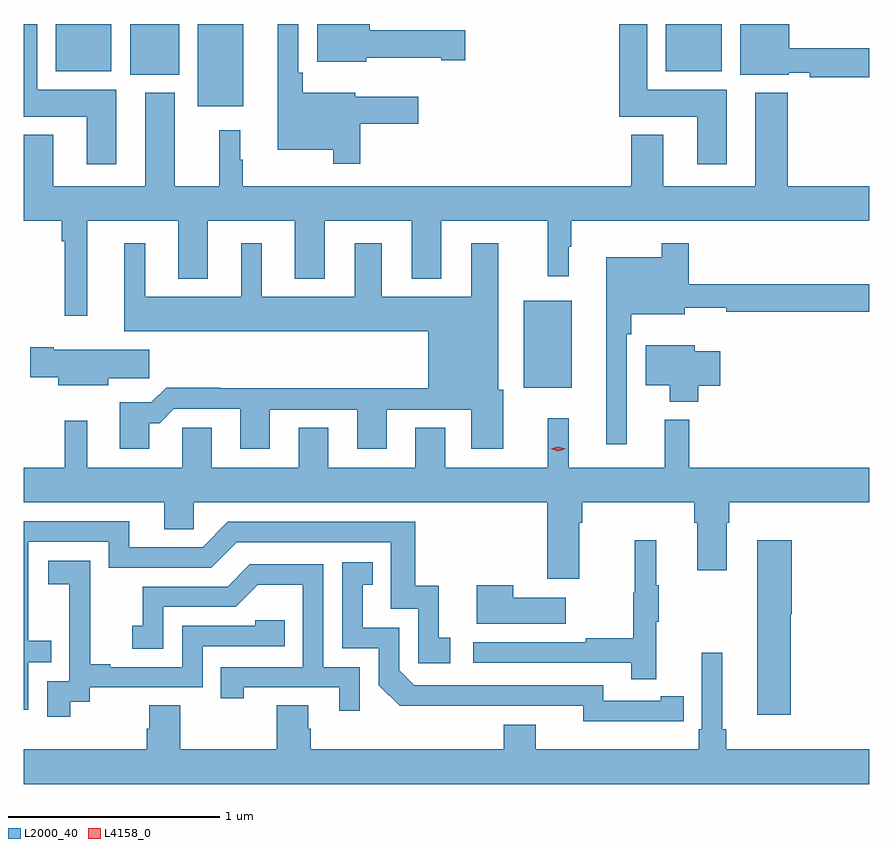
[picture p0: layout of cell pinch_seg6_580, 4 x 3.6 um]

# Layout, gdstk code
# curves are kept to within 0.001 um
import gdstk
lib = gdstk.Library(unit=1e-6, precision=1e-09)
def R(c, l, rs):  # rectangles x0, y0, x1, y1
    for r in rs: c.add(gdstk.rectangle(r[:2], r[2:], *l))
def P(c, l, *ps):  # polygons
    for p in ps: c.add(gdstk.Polygon(p, *l))
L2000_40 = (2000, 40)
L4158_0 = (4158, 0)

pinch_seg6_580 = lib.new_cell('pinch_seg6_580')
R(pinch_seg6_580, L2000_40, [(541.634,961.199,541.861,961.609), (540.092,962.531,540.307,962.919), (539.771,962.678,540.004,962.919), (539.42,962.696,539.683,962.919), (542.306,962.696,542.569,962.919)])
P(pinch_seg6_580, L2000_40, [(543.268,962.804),(542.89,962.804),(542.89,962.919),(542.657,962.919),(542.657,962.678),(542.886,962.678),(542.886,962.688),(542.986,962.688),(542.986,962.668),(543.268,962.668)],
  [(539.707,962.608),(539.332,962.608),(539.332,962.919),(539.268,962.919),(539.268,962.48),(539.567,962.48),(539.567,962.256),(539.707,962.256)],
  [(540.888,962.759),(541.244,962.759),(541.244,962.747),(541.357,962.747),(541.357,962.889),(540.905,962.889),(540.905,962.919),(540.656,962.919),(540.656,962.741),(540.888,962.741)],
  [(540.86,962.446),(541.135,962.446),(541.135,962.575),(540.837,962.575),(540.837,962.593),(540.587,962.593),(540.587,962.689),(540.567,962.689),(540.567,962.919),(540.47,962.919),(540.47,962.324),(540.732,962.324),(540.732,962.259),(540.86,962.259)],
  [(542.593,962.608),(542.218,962.608),(542.218,962.919),(542.084,962.919),(542.084,962.48),(542.453,962.48),(542.453,962.256),(542.593,962.256)],
  [(540.304,962.276),(540.292,962.276),(540.292,962.416),(540.194,962.416),(540.194,962.152),(539.983,962.152),(539.983,962.593),(539.843,962.593),(539.843,962.152),(539.407,962.152),(539.407,962.395),(539.268,962.395),(539.268,961.988),(539.448,961.988),(539.448,961.892),(539.463,961.892),(539.463,961.539),(539.569,961.539),(539.569,961.988),(539.999,961.988),(539.999,961.715),(540.139,961.715),(540.139,961.988),(540.551,961.988),(540.551,961.715),(540.691,961.715),(540.691,961.988),(541.103,961.988),(541.103,961.715),(541.243,961.715),(541.243,961.988),(541.747,961.988),(541.747,961.725),(541.846,961.725),(541.846,961.865),(541.858,961.865),(541.858,961.988),(543.268,961.988),(543.268,962.152),(542.882,962.152),(542.882,962.593),(542.729,962.593),(542.729,962.152),(542.293,962.152),(542.293,962.395),(542.141,962.395),(542.141,962.152),(540.304,962.152)],
  [(542.121,961.451),(542.141,961.451),(542.141,961.547),(542.395,961.547),(542.395,961.577),(542.591,961.577),(542.591,961.558),(543.268,961.558),(543.268,961.687),(542.414,961.687),(542.414,961.882),(542.286,961.882),(542.286,961.816),(542.024,961.816),(542.024,960.93),(542.121,960.93)],
  [(539.863,961.031),(539.912,961.031),(539.979,961.098),(540.293,961.098),(540.293,960.909),(540.433,960.909),(540.433,961.095),(540.845,961.095),(540.845,960.909),(540.985,960.909),(540.985,961.095),(541.385,961.095),(541.385,960.909),(541.537,960.909),(541.537,961.188),(541.513,961.188),(541.513,961.882),(541.385,961.882),(541.385,961.63),(540.961,961.63),(540.961,961.882),(540.833,961.882),(540.833,961.63),(540.394,961.63),(540.394,961.882),(540.296,961.882),(540.296,961.63),(539.842,961.63),(539.842,961.882),(539.744,961.882),(539.744,961.466),(541.181,961.466),(541.181,961.196),(540.197,961.196),(540.197,961.199),(539.942,961.199),(539.872,961.129),(539.723,961.129),(539.723,960.909),(539.863,960.909)],
  [(542.459,961.207),(542.563,961.207),(542.563,961.372),(542.442,961.372),(542.442,961.399),(542.21,961.399),(542.21,961.211),(542.324,961.211),(542.324,961.133),(542.459,961.133)],
  [(539.668,961.243),(539.863,961.243),(539.863,961.378),(539.41,961.378),(539.41,961.391),(539.298,961.391),(539.298,961.249),(539.432,961.249),(539.432,961.211),(539.668,961.211)],
  [(541.897,960.56),(541.91,960.56),(541.91,960.656),(542.441,960.656),(542.441,960.56),(542.453,960.56),(542.453,960.336),(542.593,960.336),(542.593,960.56),(542.606,960.56),(542.606,960.656),(543.268,960.656),(543.268,960.82),(542.417,960.82),(542.417,961.048),(542.3,961.048),(542.3,960.82),(541.847,960.82),(541.847,961.054),(541.748,961.054),(541.748,960.82),(541.261,960.82),(541.261,961.01),(541.121,961.01),(541.121,960.82),(540.709,960.82),(540.709,961.01),(540.569,961.01),(540.569,960.82),(540.157,960.82),(540.157,961.01),(540.018,961.01),(540.018,960.82),(539.569,960.82),(539.569,961.042),(539.463,961.042),(539.463,960.82),(539.268,960.82),(539.268,960.656),(539.933,960.656),(539.933,960.529),(540.072,960.529),(540.072,960.656),(541.745,960.656),(541.745,960.294),(541.897,960.294)],
  [(539.289,959.901),(539.399,959.901),(539.399,960.002),(539.289,960.002),(539.289,960.471),(539.67,960.471),(539.67,960.348),(540.156,960.348),(540.276,960.468),(541.005,960.468),(541.005,960.153),(541.134,960.153),(541.134,959.895),(541.285,959.895),(541.285,960.015),(541.232,960.015),(541.232,960.262),(541.121,960.262),(541.121,960.564),(540.234,960.564),(540.114,960.444),(539.767,960.444),(539.767,960.567),(539.268,960.567),(539.268,959.676),(539.289,959.676)],
  [(542.261,960.091),(542.272,960.091),(542.272,960.265),(542.261,960.265),(542.261,960.478),(542.158,960.478),(542.158,960.228),(542.151,960.228),(542.151,960.014),(541.927,960.014),(541.927,959.994),(541.395,959.994),(541.395,959.898),(542.143,959.898),(542.143,959.82),(542.261,959.82)],
  [(542.897,960.126),(542.902,960.126),(542.902,960.478),(542.738,960.478),(542.738,959.652),(542.897,959.652)],
  [(539.488,959.713),(539.58,959.713),(539.58,959.781),(540.114,959.781),(540.114,959.976),(540.503,959.976),(540.503,960.099),(540.363,960.099),(540.363,960.072),(540.018,960.072),(540.018,959.877),(539.677,959.877),(539.677,959.89),(539.582,959.89),(539.582,960.173),(539.583,960.173),(539.583,960.379),(539.385,960.379),(539.385,960.269),(539.483,960.269),(539.483,960.041),(539.484,960.041),(539.484,959.811),(539.379,959.811),(539.379,959.643),(539.488,959.643)],
  [(542.282,959.622),(542.39,959.622),(542.39,959.738),(542.282,959.738),(542.282,959.718),(542.01,959.718),(542.01,959.79),(541.116,959.79),(541.044,959.862),(541.044,960.063),(540.871,960.063),(540.871,960.267),(540.92,960.267),(540.92,960.373),(540.774,960.373),(540.774,959.967),(540.948,959.967),(540.948,959.79),(541.046,959.693),(541.914,959.694),(541.914,959.621)],
  [(540.858,959.877),(540.684,959.877),(540.684,960.363),(540.338,960.363),(540.233,960.258),(539.83,960.258),(539.83,960.073),(539.781,960.073),(539.781,959.964),(539.928,959.964),(539.928,960.162),(540.27,960.162),(540.374,960.266),(540.588,960.266),(540.588,959.877),(540.199,959.877),(540.199,959.73),(540.31,959.73),(540.31,959.781),(540.761,959.781),(540.761,959.67),(540.858,959.67)],
  [(541.831,960.205),(541.583,960.205),(541.583,960.265),(541.412,960.265),(541.412,960.083),(541.831,960.083)],
  [(543.268,959.488),(542.591,959.488),(542.591,959.584),(542.572,959.584),(542.572,959.944),(542.475,959.944),(542.475,959.584),(542.462,959.584),(542.462,959.488),(541.69,959.488),(541.69,959.605),(541.538,959.605),(541.538,959.488),(540.626,959.488),(540.626,959.586),(540.613,959.586),(540.613,959.696),(540.466,959.696),(540.466,959.488),(540.009,959.488),(540.009,959.696),(539.861,959.696),(539.861,959.586),(539.849,959.586),(539.849,959.488),(539.268,959.488),(539.268,959.324),(543.268,959.324)])
P(pinch_seg6_580, L4158_0, [(541.797,960.899),(541.762,960.909),(541.761,960.909),(541.762,960.909),(541.797,960.919),(541.833,960.909),(541.833,960.909),(541.833,960.909)])

lib.write_gds('pinch_seg6_580.gds')
